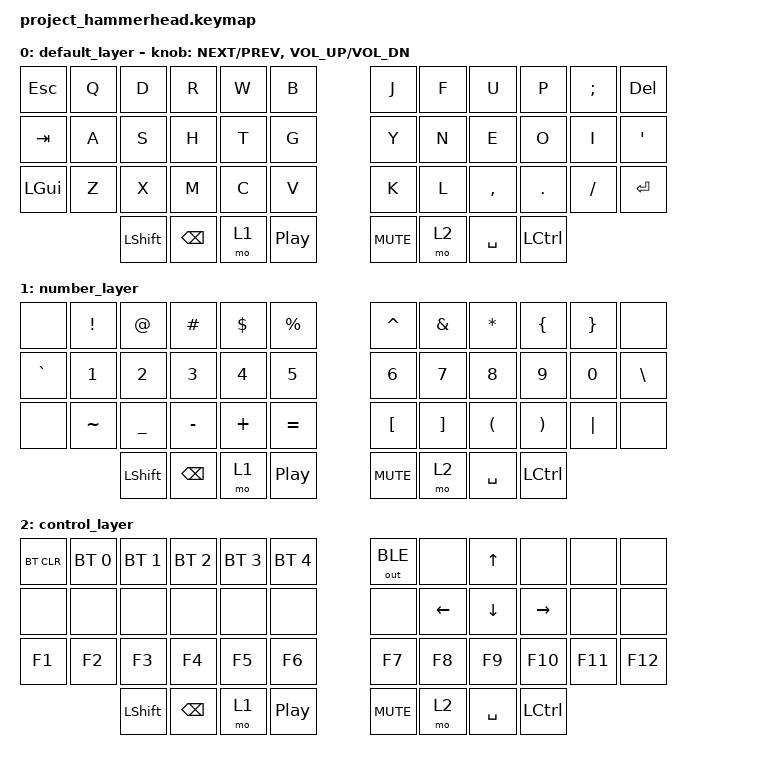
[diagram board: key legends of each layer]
#include <behaviors.dtsi>
#include <dt-bindings/zmk/keys.h>
#include <dt-bindings/zmk/bt.h>
#include <dt-bindings/zmk/outputs.h>

/ {
    keymap {
        compatible = "zmk,keymap";
        
        default_layer {
            bindings = <
// ---------------------------------------------------------------          -------------------------------------------------------------
// |    ESC    |    Q    |    D    |    R    |    W    |    B    |          |    J    |    F    |    U    |    P    |    ;    |   DEL   |
      &kp ESC     &kp Q     &kp D     &kp R     &kp W     &kp B             &kp J     &kp F     &kp U     &kp P   &kp SEMI   &kp DEL
// ---------------------------------------------------------------          -------------------------------------------------------------
// |    TAB    |    A    |    S    |    H    |    T    |    G    |          |    Y    |    N    |    E    |    O    |    I    |    '    |
     &kp TAB      &kp A     &kp S     &kp H     &kp T     &kp G                &kp Y     &kp N     &kp E     &kp O     &kp I   &kp APOS
// ---------------------------------------------------------------          -------------------------------------------------------------
// |  WINDOWS  |    Z    |    X    |    M    |    C    |    V    |          |    K    |    L    |    ,    |    .    |    /    |  ENTER  |
     &kp LGUI     &kp Z     &kp X     &kp M     &kp C     &kp V                &kp K     &kp L   &kp COMMA  &kp DOT  &kp FSLH  &kp ENTER
// ---------------------------------------------------------------          -------------------------------------------------------------
//                       |  SHIFT  |BACKSPACE| LAYER_1 |PLAYPAUSE|          |  MUTE   | LAYER_2 |  SPACE  |  CTRL   |
                          &kp LSHFT &kp BSPC    &mo 1   &kp C_PP            &kp C_MUTE   &mo 2   &kp SPACE &kp LCTRL
//                       -----------------------------------------          -----------------------------------------
            >;

            sensor-bindings = <&inc_dec_kp C_NEXT C_PREV &inc_dec_kp C_VOL_UP C_VOL_DN>;
        };


    number_layer {
            bindings = <
// ---------------------------------------------------------------          -------------------------------------------------------------
// |           |    !    |    @    |    #    |    $    |    %    |          |    ^     |    &    |    *    |    {    |    }    |        |
       &none    &kp EXCL    &kp AT  &kp HASH  &kp DLLR  &kp PRCNT            &kp CARET  &kp AMPS  &kp ASTRK &kp LBRC  &kp RBRC   &none
// ---------------------------------------------------------------          -------------------------------------------------------------
// |     `     |    1    |    2    |    3    |    4    |    5    |          |    6    |    7    |    8    |    9    |    0    |    \    |
     &kp GRAVE    &kp N1    &kp N2    &kp N3    &kp N4    &kp N5              &kp N6    &kp N7    &kp N8    &kp N9    &kp N0   &kp BSLH
// ---------------------------------------------------------------          -------------------------------------------------------------
// |           |    ~    |    _    |    -    |    +    |    =    |          |    [    |    ]    |    (    |    )    |    |    |         |
       &none    &kp TILDE &kp UNDER &kp MINUS &kp PLUS  &kp EQUAL            &kp LBKT  &kp RBKT  &kp LPAR  &kp RPAR  &kp PIPE    &none
// ---------------------------------------------------------------          -------------------------------------------------------------
//                       |  SHIFT  |BACKSPACE| LAYER_1 |PLAYPAUSE|          |  MUTE   | LAYER_2 |  SPACE  |  CTRL   |
                          &kp LSHFT &kp BSPC    &mo 1   &kp C_PP            &kp C_MUTE   &mo 2   &kp SPACE &kp LCTRL
//                       -----------------------------------------          -----------------------------------------
            >;
        };


        control_layer {
            bindings = <
// ---------------------------------------------------------------          -------------------------------------------------------------
// |  BT CLR   |  DEV 0  |  DEV 1  |  DEV 2  |  DEV 3  |  DEV 4  |          | OUT_BLE |         |    UP   |         |         |         |
&bt BT_CLR &bt BT_SEL 0 &bt BT_SEL 1 &bt BT_SEL 2 &bt BT_SEL 3 &bt BT_SEL 4 &out OUT_BLE &none    &kp UP     &none     &none     &none    
// ---------------------------------------------------------------          -------------------------------------------------------------
// |           |         |         |         |         |         |          |         |  LEFT   |  DOWN   |  RIGHT  |         |         |
       &none     &none     &none     &none     &none     &none                 &none   &kp LEFT  &kp DOWN  &kp RIGHT   &none     &none    
// ---------------------------------------------------------------          -------------------------------------------------------------
// |    F1     |   F2    |   F3    |   F4    |   F5    |   F6    |          |   F7    |   F8    |   F9    |   F10   |   F11   |   F12   |
       &kp F1    &kp F2    &kp F3    &kp F4    &kp F5    &kp F6               &kp F7    &kp F8    &kp F9    &kp F10   &kp F11   &kp F12    
// ---------------------------------------------------------------          -------------------------------------------------------------
//                       |  SHIFT  |BACKSPACE| LAYER_1 |PLAYPAUSE|          |  MUTE   | LAYER_2 |  SPACE  |  CTRL   |
                          &kp LSHFT &kp BSPC    &mo 1   &kp C_PP            &kp C_MUTE   &mo 2   &kp SPACE &kp LCTRL
//                       -----------------------------------------          -----------------------------------------
            >;
        };


    };
};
